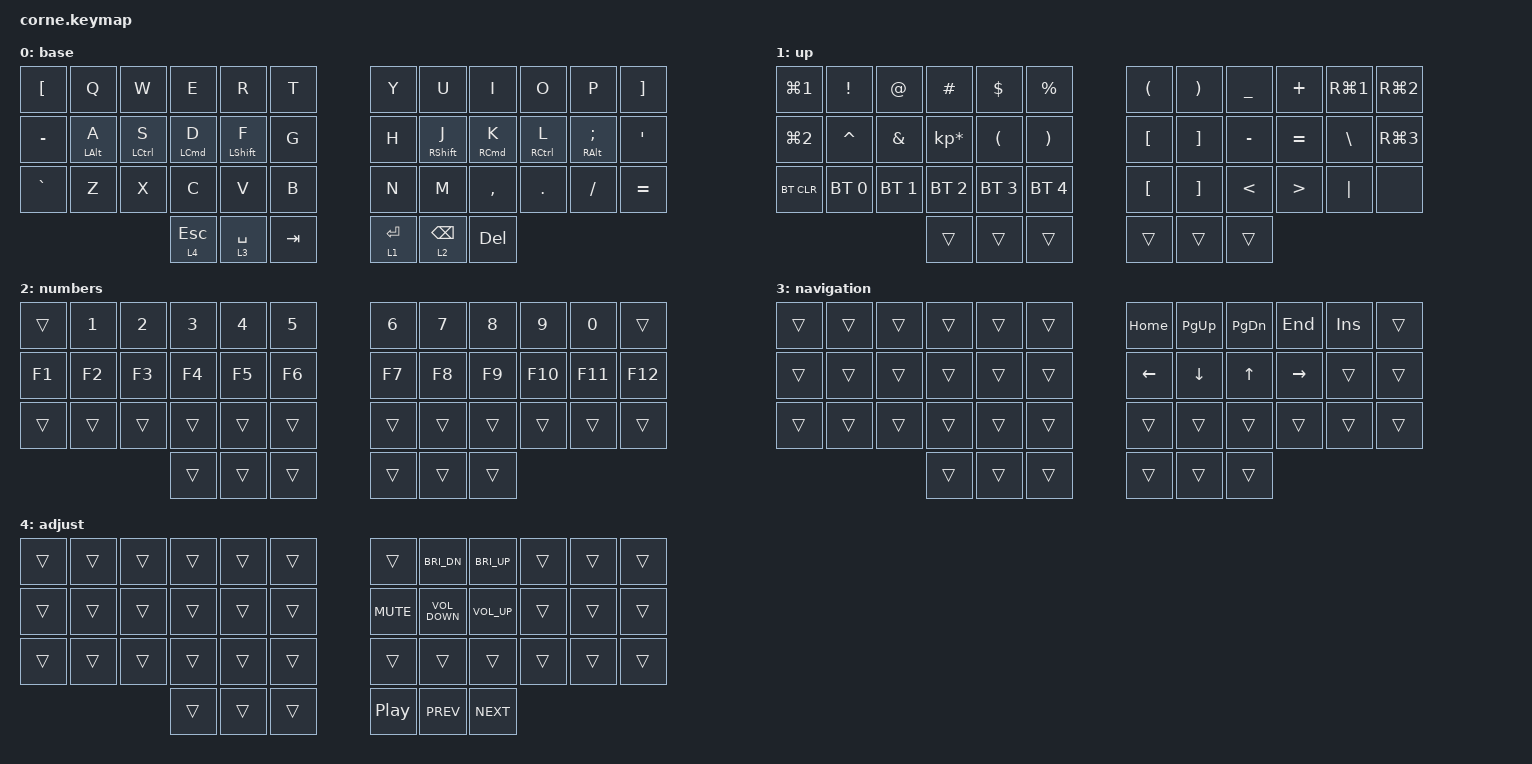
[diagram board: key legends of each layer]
/*
 * Copyright (c) 2020 The ZMK Contributors
 *
 * SPDX-License-Identifier: MIT
 */

#include <behaviors.dtsi>
#include <dt-bindings/zmk/keys.h>
#include <dt-bindings/zmk/bt.h>

#define LEFT_POSITIONS  0 1 2 3 4 5 12 13 14 15 16 17 24 25 26 27 28 29 36 37 38
#define RIGHT_POSITIONS 6 7 8 9 10 11 18 19 20 21 22 23 30 31 32 33 34 35 39 40 41

/* Key Positions
╭────────────────────────╮ ╭────────────────────────╮
│  0   1   2   3   4   5 │ │  6   7   8   9  10  11 │
│ 12  13  14  15  16  17 │ │ 18  19  20  21  22  23 │
│ 24  25  26  27  28  29 │ │ 30  31  32  33  34  35 │
╰───────────╮ 36  37  38 │ │ 39  40  41 ╭───────────╯
            ╰────────────╯ ╰────────────╯
*/

#define HM_TAPPING_TERM 280
#define HM_TAPPING_TERM_FAST 200

/ {
    behaviors {
        hml: home_row_mods_left {
            compatible = "zmk,behavior-hold-tap";
            #binding-cells = <2>;
            bindings = <&kp>, <&kp>;

            flavor = "balanced";
            tapping-term-ms = <280>;
            quick-tap-ms = <175>;
            global-quick-tap;
            hold-trigger-key-positions = < RIGHT_POSITIONS >;
            hold-trigger-on-release;
        };

        hmr: home_row_mods_right {
            compatible = "zmk,behavior-hold-tap";
            #binding-cells = <2>;
            bindings = <&kp>, <&kp>;

            flavor = "balanced";
            tapping-term-ms = <280>;
            quick-tap-ms = <175>;
            global-quick-tap;
            hold-trigger-key-positions = < LEFT_POSITIONS >;
            hold-trigger-on-release;
        };

        lthp: layer_tap_hold_preferred {
            compatible = "zmk,behavior-hold-tap";
            #binding-cells = <2>;
            tapping-term-ms = <300>;
            quick-tap-ms = <150>;

            //require-prior-idle-ms = <125>;

            flavor = "hold-preferred";
            bindings = <&mo>, <&kp>;
        };

        mthp: mod_tap_hold_preferred {
            compatible = "zmk,behavior-hold-tap";
            #binding-cells = <2>;
            tapping-term-ms = <300>;
            quick-tap-ms = <150>;

            //require-prior-idle-ms = <125>;

            flavor = "hold-preferred";
            bindings = <&kp>, <&kp>;
        };

        mttp: mod_tap_tap_preferred {
            compatible = "zmk,behavior-hold-tap";
            #binding-cells = <2>;
            tapping-term-ms = <300>;
            quick-tap-ms = <150>;

            //require-prior-idle-ms = <125>;

            flavor = "tap-preferred";
            bindings = <&kp>, <&kp>;
        };
    };

    keymap {
        compatible = "zmk,keymap";

        default_layer {
            display-name = "base";
            bindings = <
&kp LBKT   &kp Q        &kp W         &kp E           &kp R          &kp T      &kp Y          &kp U              &kp I        &kp O         &kp P           &kp RBKT
&kp MINUS  &hml LALT A  &hml LCTRL S  &hml LCMD D     &hml LSHFT F   &kp G      &kp H          &hmr RSHFT J       &hmr RCMD K  &hmr RCTRL L  &hmr RALT SEMI  &kp SQT
&kp GRAVE  &kp Z        &kp X         &kp C           &kp V          &kp B      &kp N          &kp M              &kp COMMA    &kp DOT       &kp FSLH        &kp EQUAL
                                      &lthp 4 ESCAPE  &lthp 3 SPACE  &kp TAB    &lthp 1 ENTER  &lthp 2 BACKSPACE  &kp DELETE
            >;
        };

        symbols {
            display-name = "up";
            bindings = <
&kp LG(N1)  &kp EXCL      &kp AT        &kp HASH         &kp DLLR      &kp PRCNT       &kp LPAR  &kp RPAR  &kp UNDER  &kp PLUS   &kp RG(N1)  &kp RG(N2)
&kp LG(N2)  &kp CARET     &kp AMPS      &kp KP_ASTERISK  &kp LPAR      &kp RPAR        &kp LBKT  &kp RBKT  &kp MINUS  &kp EQUAL  &kp BSLH    &kp RG(N3)
&bt BT_CLR  &bt BT_SEL 0  &bt BT_SEL 1  &bt BT_SEL 2     &bt BT_SEL 3  &bt BT_SEL 4    &kp LBKT  &kp RBKT  &kp LT     &kp GT     &kp PIPE    &none
                                        &trans           &trans        &trans          &trans    &trans    &trans
            >;
        };

        numbers {
            bindings = <
&trans  &kp NUMBER_1  &kp NUMBER_2  &kp NUMBER_3  &kp NUMBER_4  &kp NUMBER_5    &kp NUMBER_6  &kp NUMBER_7  &kp NUMBER_8  &kp NUMBER_9  &kp NUMBER_0  &trans
&kp F1  &kp F2        &kp F3        &kp F4        &kp F5        &kp F6          &kp F7        &kp F8        &kp F9        &kp F10       &kp F11       &kp F12
&trans  &trans        &trans        &trans        &trans        &trans          &trans        &trans        &trans        &trans        &trans        &trans
                                    &trans        &trans        &trans          &trans        &trans        &trans
            >;
        };

        navigation {
            bindings = <
&trans  &trans  &trans  &trans  &trans  &trans    &kp HOME        &kp PG_UP       &kp PAGE_DOWN  &kp END          &kp INSERT  &trans
&trans  &trans  &trans  &trans  &trans  &trans    &kp LEFT_ARROW  &kp DOWN_ARROW  &kp UP_ARROW   &kp RIGHT_ARROW  &trans      &trans
&trans  &trans  &trans  &trans  &trans  &trans    &trans          &trans          &trans         &trans           &trans      &trans
                        &trans  &trans  &trans    &trans          &trans          &trans
            >;
        };

        adjust {
            bindings = <
&trans  &trans  &trans  &trans  &trans  &trans    &trans            &kp C_BRI_DN       &kp C_BRI_UP  &trans  &trans  &trans
&trans  &trans  &trans  &trans  &trans  &trans    &kp C_MUTE        &kp C_VOLUME_DOWN  &kp C_VOL_UP  &trans  &trans  &trans
&trans  &trans  &trans  &trans  &trans  &trans    &trans            &trans             &trans        &trans  &trans  &trans
                        &trans  &trans  &trans    &kp C_PLAY_PAUSE  &kp C_PREV         &kp C_NEXT
            >;
        };
    };
};
